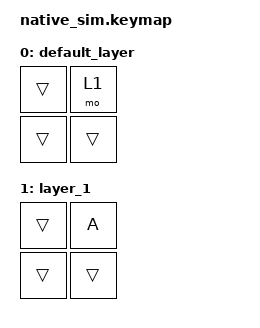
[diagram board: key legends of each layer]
#include <dt-bindings/zmk/keys.h>
#include <behaviors.dtsi>
#include <dt-bindings/zmk/input_mock.h>

/*
this test verifies that the correct key is released when a layer is enabled "on top"
and the original key is "covered".
*/
/ {
    keymap {
        compatible = "zmk,keymap";

        default_layer {
            bindings = <
                &trans &mo 1
                &trans &trans>;
        };

        layer_1 {
            bindings = <
                &trans &kp A
                &trans &trans>;
        };
    };
};

&mock_input {
    events = <
        ZMK_INPUT_MOCK_PRESS(0,1,10)
        ZMK_INPUT_MOCK_RELEASE(0,1,10)
    >;
};
